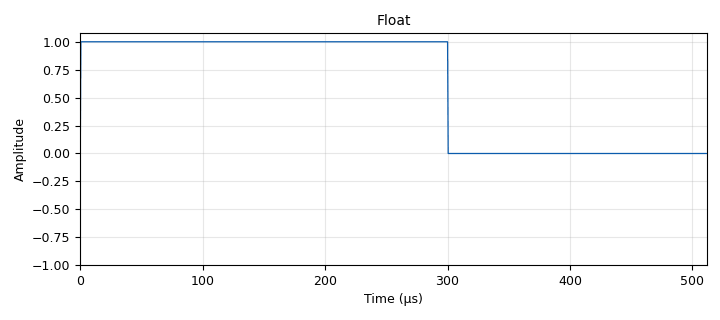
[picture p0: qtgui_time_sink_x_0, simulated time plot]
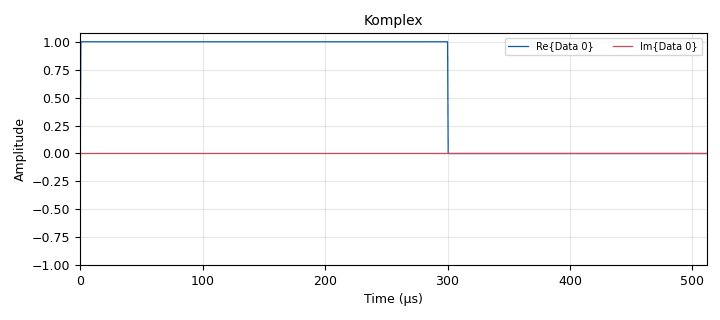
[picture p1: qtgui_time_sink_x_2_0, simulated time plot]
<?xml version='1.0' encoding='utf-8'?>
<?grc format='1' created='3.7.13'?>
<flow_graph>
<block>
<key>options</key>
<param><key>id</key><value>top_block</value></param>
<param><key>generate_options</key><value>qt_gui</value></param>
</block>
<block>
<key>variable</key>
<param><key>id</key><value>AOff</value></param>
<param><key>value</key><value>(0,0,0,1,0,1,0,1,0,1,0,0,0,1,0,1,0,1,0,1,0,1,0,0,0,2,2,2,2,2,2,2)</value></param>
</block>
<block>
<key>variable</key>
<param><key>id</key><value>AOn</value></param>
<param><key>value</key><value>(0,0,0,1,0,1,0,1,0,1,0,0,0,1,0,1,0,1,0,1,0,0,0,1,0,2,2,2,2,2,2,2)</value></param>
</block>
<block>
<key>variable</key>
<param><key>id</key><value>BOff</value></param>
<param><key>value</key><value>(0,0,0,1,0,1,0,1,0,1,0,1,0,0,0,1,0,1,0,1,0,1,0,0,0,2,2,2,2,2,2,2)</value></param>
</block>
<block>
<key>variable</key>
<param><key>id</key><value>BOn</value></param>
<param><key>value</key><value>(0,0,0,1,0,1,0,1,0,1,0,1,0,0,0,1,0,1,0,1,0,0,0,1,0,2,2,2,2,2,2,2)</value></param>
</block>
<block>
<key>variable</key>
<param><key>id</key><value>COff</value></param>
<param><key>value</key><value>(0,0,0,1,0,1,0,1,0,1,0,1,0,1,0,0,0,1,0,1,0,1,0,0,0,2,2,2,2,2,2,2)</value></param>
</block>
<block>
<key>variable</key>
<param><key>id</key><value>COn</value></param>
<param><key>value</key><value>(0,0,0,1,0,1,0,1,0,1,0,1,0,1,0,0,0,1,0,1,0,0,0,1,0,2,2,2,2,2,2,2)</value></param>
</block>
<block>
<key>variable_qtgui_range</key>
<param><key>id</key><value>IFGain</value></param>
<param><key>value</key><value>47</value></param>
<param><key>label</key><value>IFGain</value></param>
<param><key>orient</key><value>Qt.Horizontal</value></param>
<param><key>start</key><value>0</value></param>
<param><key>step</key><value>1</value></param>
<param><key>stop</key><value>47</value></param>
</block>
<block>
<key>variable_qtgui_check_box</key>
<param><key>id</key><value>RFGain</value></param>
<param><key>value</key><value>0</value></param>
<param><key>false</key><value>0</value></param>
<param><key>label</key><value>RFGain On/off</value></param>
<param><key>true</key><value>14</value></param>
<param><key>type</key><value>int</value></param>
</block>
<block>
<key>variable</key>
<param><key>id</key><value>base_transmit_frequency</value></param>
<param><key>value</key><value>433620000</value></param>
</block>
<block>
<key>variable</key>
<param><key>id</key><value>samp_rate</value></param>
<param><key>value</key><value>2e6</value></param>
</block>
<block>
<key>blocks_char_to_float</key>
<param><key>id</key><value>blocks_char_to_float_0</value></param>
<param><key>scale</key><value>1</value></param>
</block>
<block>
<key>blocks_float_to_complex</key>
<param><key>id</key><value>blocks_float_to_complex_0</value></param>
</block>
<block>
<key>blocks_repeat</key>
<param><key>id</key><value>blocks_repeat_0</value></param>
<param><key>interp</key><value>600</value></param>
<param><key>type</key><value>float</value></param>
</block>
<block>
<key>blocks_throttle</key>
<param><key>id</key><value>blocks_throttle_1</value></param>
<param><key>samples_per_second</key><value>samp_rate</value></param>
<param><key>type</key><value>byte</value></param>
</block>
<block>
<key>blocks_unpack_k_bits_bb</key>
<param><key>id</key><value>blocks_unpack_k_bits_bb_0</value></param>
<param><key>k</key><value>4</value></param>
</block>
<block>
<key>blocks_vector_source_x</key>
<param><key>id</key><value>blocks_vector_source_x_0_0</value></param>
<param><key>type</key><value>byte</value></param>
<param><key>repeat</key><value>True</value></param>
<param><key>vector</key><value>BOff</value></param>
</block>
<block>
<key>digital_map_bb</key>
<param><key>id</key><value>digital_map_bb_0</value></param>
<param><key>map</key><value>(8,14,0)</value></param>
</block>
<block>
<key>note</key>
<param><key>id</key><value>note_0</value></param>
<param><key>note</key><value>maps symbols (0,1,2 where 2 is break) to binary nibbles 1000 (8), 1110 (14), and just all zeroes 0000 for break</value></param>
</block>
<block>
<key>note</key>
<param><key>id</key><value>note_0_0</value></param>
<param><key>note</key><value>at 2MSps we need 600 samples to form a 300us "1" subsymbol bit.</value></param>
</block>
<block>
<key>note</key>
<param><key>id</key><value>note_1</value></param>
<param><key>note</key><value>The two TX gain controls are at the RF (0 or 14 dB) and IF (0 to 47 dB in 1 dB steps) stages.</value></param>
</block>
<block>
<key>osmosdr_sink</key>
<param><key>id</key><value>osmosdr_sink_0</value></param>
<param><key>bb_gain0</key><value>20</value></param>
<param><key>freq0</key><value>base_transmit_frequency</value></param>
<param><key>if_gain0</key><value>IFGain</value></param>
<param><key>gain0</key><value>RFGain</value></param>
<param><key>args</key><value></value></param>
<param><key>type</key><value>fc32</value></param>
<param><key>sample_rate</key><value>samp_rate</value></param>
<param><key>sync</key><value></value></param>
</block>
<block>
<key>qtgui_time_sink_x</key>
<param><key>id</key><value>qtgui_time_sink_x_0</value></param>
<param><key>ctrlpanel</key><value>True</value></param>
<param><key>color1</key><value>"blue"</value></param>
<param><key>label1</key><value></value></param>
<param><key>name</key><value>"Float"</value></param>
<param><key>size</key><value>1024</value></param>
<param><key>srate</key><value>samp_rate</value></param>
<param><key>tr_mode</key><value>qtgui.TRIG_MODE_NORM</value></param>
<param><key>type</key><value>float</value></param>
</block>
<block>
<key>qtgui_time_sink_x</key>
<param><key>id</key><value>qtgui_time_sink_x_2_0</value></param>
<param><key>ctrlpanel</key><value>True</value></param>
<param><key>color1</key><value>"blue"</value></param>
<param><key>label1</key><value></value></param>
<param><key>color2</key><value>"red"</value></param>
<param><key>label2</key><value></value></param>
<param><key>name</key><value>"Komplex"</value></param>
<param><key>size</key><value>1024</value></param>
<param><key>srate</key><value>samp_rate</value></param>
<param><key>tr_mode</key><value>qtgui.TRIG_MODE_NORM</value></param>
<param><key>type</key><value>complex</value></param>
</block>
<connection><source_block_id>blocks_char_to_float_0</source_block_id><sink_block_id>blocks_repeat_0</sink_block_id><source_key>0</source_key><sink_key>0</sink_key></connection>
<connection><source_block_id>blocks_float_to_complex_0</source_block_id><sink_block_id>osmosdr_sink_0</sink_block_id><source_key>0</source_key><sink_key>0</sink_key></connection>
<connection><source_block_id>blocks_float_to_complex_0</source_block_id><sink_block_id>qtgui_time_sink_x_2_0</sink_block_id><source_key>0</source_key><sink_key>0</sink_key></connection>
<connection><source_block_id>blocks_repeat_0</source_block_id><sink_block_id>blocks_float_to_complex_0</sink_block_id><source_key>0</source_key><sink_key>0</sink_key></connection>
<connection><source_block_id>blocks_repeat_0</source_block_id><sink_block_id>qtgui_time_sink_x_0</sink_block_id><source_key>0</source_key><sink_key>0</sink_key></connection>
<connection><source_block_id>blocks_throttle_1</source_block_id><sink_block_id>blocks_char_to_float_0</sink_block_id><source_key>0</source_key><sink_key>0</sink_key></connection>
<connection><source_block_id>blocks_unpack_k_bits_bb_0</source_block_id><sink_block_id>blocks_throttle_1</sink_block_id><source_key>0</source_key><sink_key>0</sink_key></connection>
<connection><source_block_id>blocks_vector_source_x_0_0</source_block_id><sink_block_id>digital_map_bb_0</sink_block_id><source_key>0</source_key><sink_key>0</sink_key></connection>
<connection><source_block_id>digital_map_bb_0</source_block_id><sink_block_id>blocks_unpack_k_bits_bb_0</sink_block_id><source_key>0</source_key><sink_key>0</sink_key></connection>
</flow_graph>
